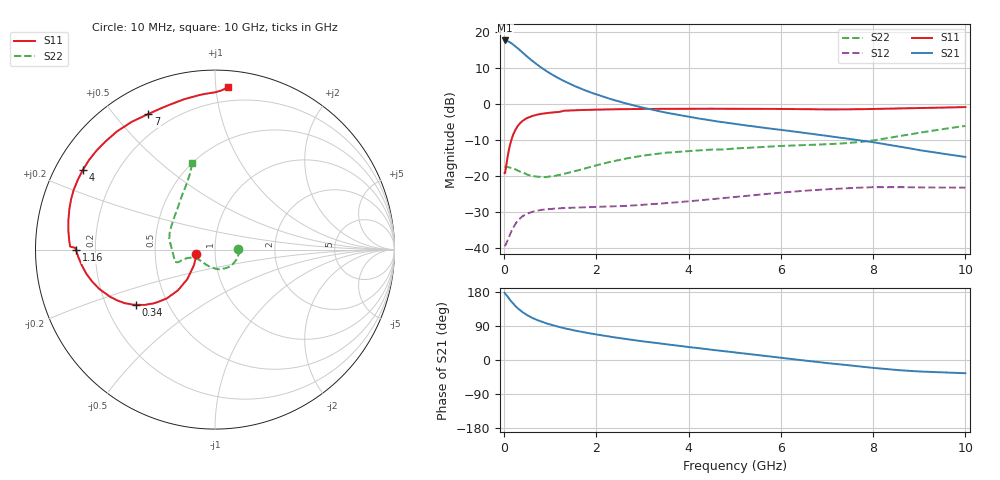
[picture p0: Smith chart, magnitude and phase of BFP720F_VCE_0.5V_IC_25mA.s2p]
! Infineon Technologies  Discrete & RF Semiconductors
! BFP720F
! VCE =  0.5 V,  IC =  25 mA
! Common Emitter S-Parameters:  Jan 2016
# GHz  S  MA  R  50
!  f  S11  S21  S12  S22
! GHz  MAG  ANG  MAG  ANG  MAG  ANG  MAG  ANG
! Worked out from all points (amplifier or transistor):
!   233 points, 10 MHz to 10 GHz, reference 50 ohm
!   highest |S21| = 17.7 dB at 20 MHz (marker M1)
!   |S21| within 3 dB of that: start of sweep to 367.8 MHz
!   unconditionally stable (mu >= 1): start of sweep to end of sweep
!   at 200 MHz: K = 3.27, MAG = 17.3 dB, |S12| = -34.3 dB
!   at 1.74 GHz: K = 2.71, MAG = 9.1 dB, |S12| = -28.7 dB
!   at 10 GHz: K = 5.55, MAG = -6.2 dB, |S12| = -23.2 dB
!   S11 on the Smith chart (normalised r, x): 10 MHz: 0.81, -0.04; 340 MHz: 0.33, -0.28; 1.16 GHz: 0.13, -0.00; 4 GHz: 0.08, +0.28; 7 GHz: 0.12, +0.62; 10 GHz: 0.10, +1.08
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0.01  0.1096 -165.9  7.622 177.5  0.0106 6.6  0.1303 0.5
0.02  0.1101 -161.5  7.643 175.5  0.0108 8.9  0.1328 -4.4
0.1  0.2259 -133.1  7.356 163.0  0.0139 27.8  0.1329 -21.8
0.15  0.307 -132.3  7.049 155.2  0.0167 32.7  0.1298 -32.6
0.195  0.3738 -134.4  6.718 148.9  0.019 34.2  0.1273 -41.8
0.26  0.4562 -138.9  6.224 140.7  0.0224 34.1  0.1224 -54.0
0.34  0.5364 -145.0  5.613 132.0  0.0256 32.0  0.1152 -68.1
0.4  0.5837 -149.2  5.187 126.2  0.0276 30.2  0.1119 -77.5
0.5  0.6402 -155.7  4.555 118.3  0.03 27.3  0.1046 -90.2
0.6  0.6801 -161.1  4.024 111.7  0.0317 24.8  0.1014 -103.4
0.7  0.7084 -165.6  3.584 106.2  0.0329 22.8  0.0981 -112.3
0.9  0.7458 -172.9  2.912 97.2  0.0344 19.8  0.0966 -128.8
1.16  0.7743 -179.8  2.323 88.2  0.0355 17.6  0.1022 -143.3
1.68  0.8255 171.9  1.62 74.3  0.0367 16.1  0.1238 -158.2
2.4  0.8451 162.8  1.125 59.6  0.038 17.0  0.1625 -163.1
3.4  0.8567 153.8  0.786 43.3  0.0415 20.3  0.2067 -161.5
4  0.8599 148.9  0.664 34.2  0.0445 21.6  0.2221 -161.3
5.1  0.8591 139.2  0.519 18.6  0.0519 21.6  0.2431 177.6
6.8  0.8437 119.0  0.376 -5.2  0.0642 14.9  0.273 154.8
7  0.842 116.2  0.361 -8.1  0.0654 13.9  0.2765 151.7
8.4  0.8645 96.1  0.268 -25.2  0.0701 4.5  0.344 123.3
10  0.9076 85.5  0.184 -34.9  0.0689 -1.1  0.4967 104.8
